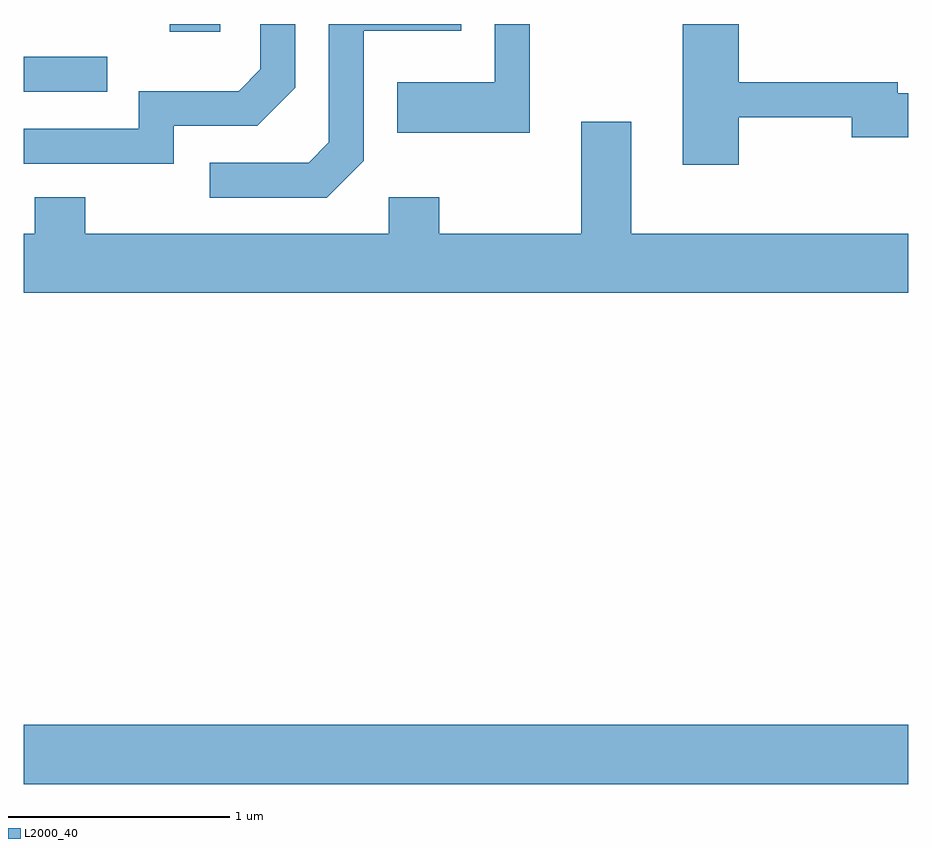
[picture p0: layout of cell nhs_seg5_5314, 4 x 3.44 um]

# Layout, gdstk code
import gdstk
lib = gdstk.Library(unit=1e-6, precision=1e-09)
def R(c, l, rs):  # rectangles x0, y0, x1, y1
    for r in rs: c.add(gdstk.rectangle(r[:2], r[2:], *l))
def P(c, l, *ps):  # polygons
    for p in ps: c.add(gdstk.Polygon(p, *l))
L2000_40 = (2000, 40)

nhs_seg5_5314 = lib.new_cell('nhs_seg5_5314')
R(nhs_seg5_5314, L2000_40, [(343.611,1394.636,347.611,1394.904), (343.611,1397.766,343.988,1397.924), (344.271,1398.036,344.499,1398.072)])
P(nhs_seg5_5314, L2000_40, [(346.844,1397.651),(347.356,1397.651),(347.356,1397.561),(347.611,1397.561),(347.611,1397.759),(347.564,1397.759),(347.564,1397.809),(346.844,1397.809),(346.844,1398.072),(346.591,1398.072),(346.591,1397.436),(346.844,1397.436)],
  [(345.899,1398.072),(345.741,1398.072),(345.741,1397.809),(345.301,1397.809),(345.301,1397.581),(345.899,1397.581)],
  [(345.149,1397.454),(345.149,1398.041),(345.589,1398.041),(345.589,1398.072),(344.991,1398.072),(344.991,1397.537),(344.899,1397.444),(344.453,1397.444),(344.453,1397.286),(344.982,1397.286)],
  [(344.289,1397.611),(344.667,1397.611),(344.839,1397.784),(344.839,1398.072),(344.681,1398.072),(344.681,1397.867),(344.584,1397.769),(344.131,1397.769),(344.131,1397.599),(343.611,1397.599),(343.611,1397.441),(344.289,1397.441)],
  [(347.611,1397.124),(346.359,1397.124),(346.359,1397.629),(346.131,1397.629),(346.131,1397.124),(345.489,1397.124),(345.489,1397.289),(345.261,1397.289),(345.261,1397.124),(343.889,1397.124),(343.889,1397.289),(343.661,1397.289),(343.661,1397.124),(343.611,1397.124),(343.611,1396.856),(347.611,1396.856)])

lib.write_gds('nhs_seg5_5314.gds')
